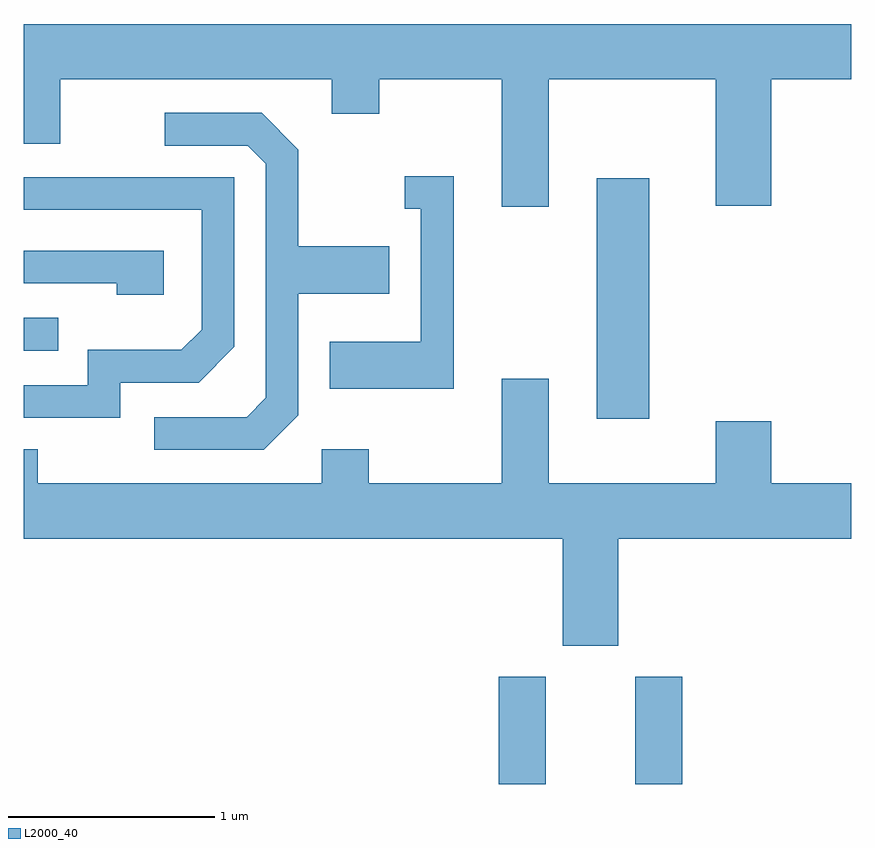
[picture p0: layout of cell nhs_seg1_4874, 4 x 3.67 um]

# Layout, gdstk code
import gdstk
lib = gdstk.Library(unit=1e-6, precision=1e-09)
def R(c, l, rs):  # rectangles x0, y0, x1, y1
    for r in rs: c.add(gdstk.rectangle(r[:2], r[2:], *l))
def P(c, l, *ps):  # polygons
    for p in ps: c.add(gdstk.Polygon(p, *l))
L2000_40 = (2000, 40)

nhs_seg1_4874 = lib.new_cell('nhs_seg1_4874')
R(nhs_seg1_4874, L2000_40, [(333.906,911.712,334.134,912.229), (334.566,911.712,334.794,912.229), (334.381,913.476,334.634,914.639), (331.611,913.806,331.778,913.964)])
P(nhs_seg1_4874, L2000_40, [(334.149,915.116),(334.956,915.116),(334.956,914.506),(335.224,914.506),(335.224,915.116),(335.611,915.116),(335.611,915.384),(331.611,915.384),(331.611,914.806),(331.789,914.806),(331.789,915.116),(333.101,915.116),(333.101,914.951),(333.329,914.951),(333.329,915.116),(333.921,915.116),(333.921,914.501),(334.149,914.501)],
  [(332.939,913.494),(332.939,914.081),(333.379,914.081),(333.379,914.309),(332.939,914.309),(332.939,914.777),(332.762,914.954),(332.293,914.954),(332.293,914.796),(332.694,914.796),(332.781,914.709),(332.781,913.577),(332.689,913.484),(332.243,913.484),(332.243,913.326),(332.772,913.326)],
  [(333.689,914.649),(333.453,914.649),(333.453,914.491),(333.531,914.491),(333.531,913.849),(333.091,913.849),(333.091,913.621),(333.689,913.621)],
  [(332.079,913.651),(332.457,913.651),(332.629,913.824),(332.629,914.644),(331.611,914.644),(331.611,914.486),(332.471,914.486),(332.471,913.907),(332.374,913.809),(331.921,913.809),(331.921,913.639),(331.611,913.639),(331.611,913.481),(332.079,913.481)],
  [(332.289,914.289),(331.611,914.289),(331.611,914.131),(332.061,914.131),(332.061,914.076),(332.289,914.076)],
  [(334.484,912.896),(335.611,912.896),(335.611,913.164),(335.224,913.164),(335.224,913.464),(334.956,913.464),(334.956,913.164),(334.149,913.164),(334.149,913.669),(333.921,913.669),(333.921,913.164),(333.279,913.164),(333.279,913.329),(333.051,913.329),(333.051,913.164),(331.679,913.164),(331.679,913.329),(331.611,913.329),(331.611,912.896),(334.216,912.896),(334.216,912.381),(334.484,912.381)])

lib.write_gds('nhs_seg1_4874.gds')
